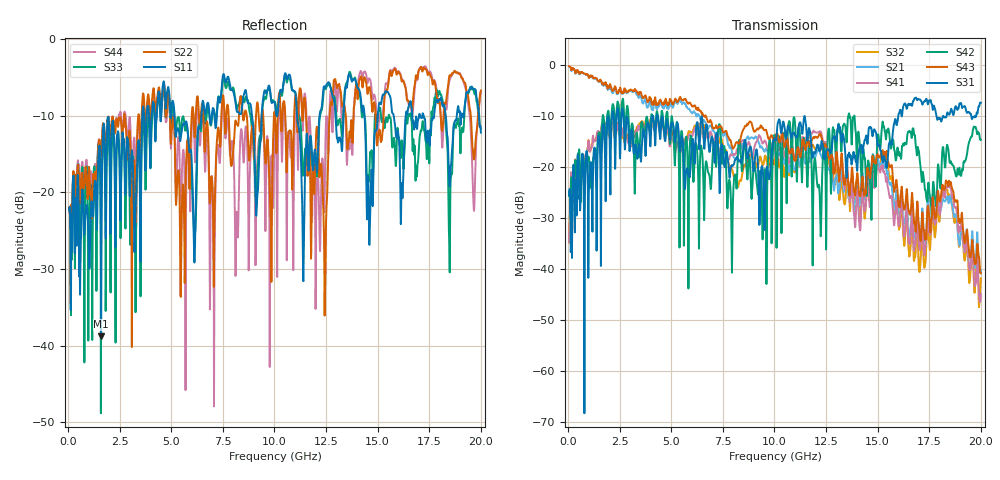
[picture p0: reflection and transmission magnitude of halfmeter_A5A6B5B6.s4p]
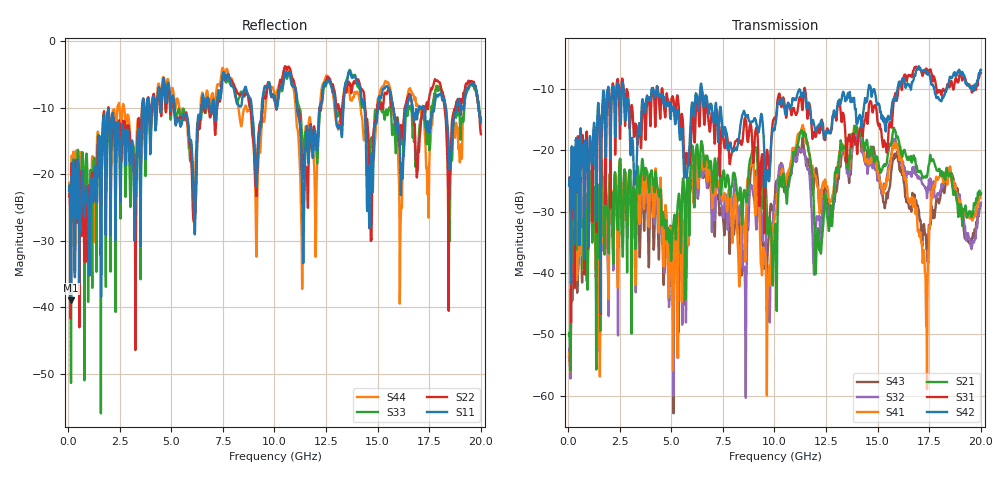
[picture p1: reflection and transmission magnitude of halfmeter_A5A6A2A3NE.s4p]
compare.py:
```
############################################################
# main stateye analysis script
########################################################################################################################

import sys
import pdb
import getopt
sys.path += ['../v5_2']
import warnings
warnings.filterwarnings('ignore')

print "Tested with v5_5"

from pylab import *
#from time import *

from extractsignal 	import extractsignal
from touchstone 	import touchstone
from stateye 		import stateye

############################################################
# create objects required
############################################################

eye1 		= stateye()
eye2 		= stateye()
extract 	= extractsignal()
channel1	= touchstone()
channel2	= touchstone()

############################################################
# default parameter than can be overwritten by command line 
# be aware than each object definition contains a further number of default parameters not visable at
# this hierarchy
############################################################

analysisMode		= 'channel compliance'	# 'channel compliance','tx compliance', 'rx compliance'

# stateye engine analysis parameters 
baudrate 		= 6.0e9
scrambled		= 1			# is analysis based on scrambled or 8b10b data
deemphasis		= 0.0			# which de-emphasis, in dB
dfetaps			= 3			# how many DFE taps
plotenable		= 1
BER			= -12
channel1.filename	= 'halfmeter_A5A6B5B6.s4p'
channel2.filename	= 'halfmeter_A5A6A2A3NE.s4p'

############################################################
# main analysis routine
############################################################

channel1.samplePerBit	= eye1.nomUI
channel1.resolution	= 1.0/baudrate/eye1.nomUI
channel1.loadFile()
channel1.map()
channel1.cascadeSimple()
channel1.extractTransfer()
channel1.addDC()
channel1.calcStep([], [])
eye1.loadStep(channel1.step)
	
channel2.samplePerBit	= eye2.nomUI
channel2.resolution	= 1.0/baudrate/eye2.nomUI
channel2.loadFile()
channel2.map()
channel2.cascadeSimple()
channel2.extractTransfer()
channel2.addDC()
channel2.calcStep([], [])
eye2.loadStep(channel2.step)

############################################################
# figure outputs
############################################################

figure()
subplot(2,1,1)
hold(0)
x = []
y = []
y2 = []
for cursor in arange(eye1.startCursor,eye1.lastCursor,0.01) :
	x += [cursor]
	y += [eye1.pulse[eye1.cursor2index(0,cursor)]]
	y2 += [eye1.inputStep[eye1.cursor2index(0,cursor+2)]]
		
plot(x,y)
hold(1)
plot(x,y2)
grid(1)
xlabel('Time [UI]')
ylabel('Amplitude [V]')
	
subplot(2,1,2)
x = []
y = []
y2 = []
for cursor in arange(eye2.startCursor,eye2.lastCursor,0.01) :
	x += [cursor]
	y += [eye2.pulse[eye2.cursor2index(0,cursor)]]
		
plot(x,y)
hold(1)
grid(1)
xlabel('Time [UI]')
ylabel('Amplitude [V]')
```
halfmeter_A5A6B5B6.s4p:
! FILE: D:\iPass\iPassCable1005\iPassCable\SOLT_cal\halfmeter_A5A6B5B6.s4p
# MHz S MA R 50.00
! FREQ  S11  S12  S13  S14
!  S21  S22  S23  S24
!  S31  S32  S33  S34
!  S41  S42  S43  S44
!  MAG  ANG  MAG  ANG  MAG  ANG  MAG  ANG
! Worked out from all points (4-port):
!   1996 points, 50 MHz to 20 GHz, reference 50 ohm
!   strongest paths, dB at 50 MHz, 5.04 GHz, 10.03 GHz, 15.02 GHz, 20 GHz:
!     S31: -25.5, -11.3, -14.7, -15.7, -7.4
!     S43: -0.2, -7.5, -14.6, -17.7, -40.8
!     S42: -25.7, -10.3, -14.7, -13.6, -14.6
!     S41: -34.7, -13.9, -16.1, -19.8, -44.9
!     S21: -0.3, -8.0, -16.1, -18.4, -40.2
!     S32: -34.8, -12.8, -18.5, -19.2, -41.8
!   lowest |S11| = -38.8 dB at 1.6 GHz (marker M1), VSWR 1.02, Z = 50.5 - j1.06 ohm
!   |S11| at or under -10 dB: start of sweep to 3.595 GHz; 5.153 GHz to 6.461 GHz (1.308 GHz wide, 22.5 % of centre); 11.09 GHz to 12.18 GHz (1.091 GHz wide, 9.38 % of centre)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
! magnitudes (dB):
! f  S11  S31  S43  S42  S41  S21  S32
! 50 MHz  -22.3  -25.5  -0.2  -25.7  -34.7  -0.3  -34.8
! 1.6 GHz  -38.8  -28.4  -3.0  -15.9  -12.5  -3.2  -12.4
! 20 GHz  -12.2  -7.4  -40.8  -14.6  -44.9  -40.2  -41.8
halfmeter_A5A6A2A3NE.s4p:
! FILE: D:\iPass\iPassCable1005\iPassCable\SOLT_cal\halfmeter_A5A6A2A3NE.s4p
# MHz S MA R 50.00
! FREQ  S11  S12  S13  S14
!  S21  S22  S23  S24
!  S31  S32  S33  S34
!  S41  S42  S43  S44
!  MAG  ANG  MAG  ANG  MAG  ANG  MAG  ANG
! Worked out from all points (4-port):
!   1996 points, 50 MHz to 20 GHz, reference 50 ohm
!   strongest paths, dB at 50 MHz, 5.04 GHz, 10.03 GHz, 15.02 GHz, 20 GHz:
!     S42: -25.7, -13.5, -16.0, -12.3, -6.9
!     S31: -25.7, -11.3, -14.8, -15.8, -7.4
!     S21: -50.2, -34.1, -32.3, -21.8, -27.0
!     S41: -53.3, -42.4, -30.5, -23.8, -26.9
!     S32: -52.8, -36.8, -28.2, -24.4, -28.5
!     S43: -53.7, -37.7, -26.9, -22.7, -28.6
!   lowest |S11| = -38.9 dB at 140 MHz (marker M1), VSWR 1.02, Z = 51 + j0.602 ohm
!   |S11| at or under -10 dB: start of sweep to 3.589 GHz; 5.156 GHz to 6.456 GHz (1.3 GHz wide, 22.4 % of centre); 11.1 GHz to 12.19 GHz (1.093 GHz wide, 9.39 % of centre)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
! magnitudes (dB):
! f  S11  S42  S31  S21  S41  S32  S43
! 50 MHz  -22.3  -25.7  -25.7  -50.2  -53.3  -52.8  -53.7
! 140 MHz  -38.9  -41.7  -48.1  -47.2  -44.6  -48.0  -46.0
! 20 GHz  -12.2  -6.9  -7.4  -27.0  -26.9  -28.5  -28.6
